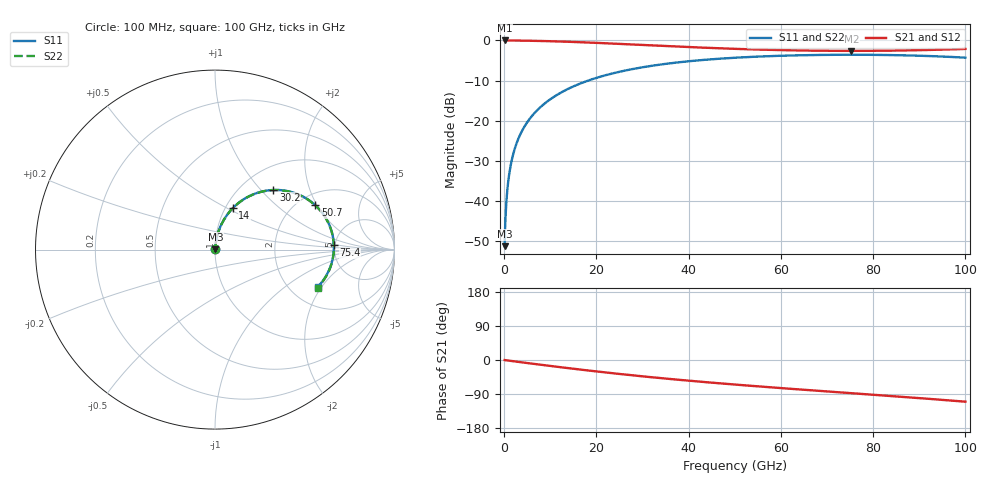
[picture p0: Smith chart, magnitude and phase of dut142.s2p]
! Touchstone file exported from HFSS 2026.1.0
!  File:  C:/ffzhzh/LocalFiles/Ansys_Project_Files/temp_train_RDL_142_1783499763_55944.aedt
!  Generated:  04:37:16 PM Jul  8, 2026
!  Design:  RDL
!  Project:  temp_train_RDL_142_1783499763_55944
! Variables:
!  h_bsmrdl = 2um
!  h_ox = 20um
!  h_rdl = 5um
!  h_sub = 80um
!  h_tmrdl = 4.89um
!  h_tsv = 80um
!  h_via = 3um
!  l_bsmrdl = 300um
!  l_sub = 775.18um
!  l_tmrdl = 375.18um
!  m_sub = 200um
!  pitch = 54.17um
!  r_tsv = 6um
!  s_tmrdl = 10um
!  w_bsmrdl = 18um
!  w_sub = 500um
!  w_tmrdl = 15.76um
!  x_tsv_center1 = 383.06um
!  x_tsv_center2 = 701.06um
!  x_tsv_center3 = 1092um
!  x_tsv_center4 = 1410um
!  x_tsv_center5 = 1800.94um
!  x_tsv_center6 = 2118.94um
# GHz S MA R 50.000000
! Terminal data exported
! Port[1] = TM_RDL1_1_T1
! Port[2] = TM_RDL1_1_T2
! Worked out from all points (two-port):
!   1000 points, 100 MHz to 100 GHz, reference 50 ohm
!   highest |S21| = -0.02 dB at 100 MHz (marker M1); lowest = -2.6 dB at 75.3 GHz (marker M2)
!   |S21| within 3 dB of the highest: start of sweep to end of sweep
!   lowest |S11| = -51.2 dB at 100 MHz (marker M3), VSWR 1.01, Z = 50.2 + j0.204 ohm
!   |S11| at or under -10 dB: start of sweep to 18.23 GHz
!   |S22| runs from -51.2 to -3.6 dB; largest |S21 - S12| = 1.3e-14
!   S11 on the Smith chart (normalised r, x): 100 MHz: 1.00, +0.00; 14 GHz: 1.08, +0.53; 30.2 GHz: 1.39, +1.17; 50.7 GHz: 2.45, +1.93; 75.4 GHz: 4.89, +0.41; 100 GHz: 2.80, -1.84
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0.1  0.002742 48.0  0.9982 -0.2  0.9982 -0.2  0.002742 48.0
! Gamma 0 0 0 0
! Port Impedance 50 0 50 0
0.8  0.01588 81.0  0.9977 -1.3  0.9977 -1.3  0.01588 80.9
1  0.01974 82.0  0.9976 -1.6  0.9976 -1.6  0.01974 82.0
1.3  0.02554 82.7  0.9974 -2.1  0.9974 -2.1  0.02554 82.7
1.7  0.03326 83.1  0.997 -2.8  0.997 -2.8  0.03326 83.0
2.2  0.04288 82.9  0.9964 -3.6  0.9964 -3.6  0.04288 82.9
3.4  0.06575 81.7  0.9946 -5.5  0.9946 -5.5  0.06575 81.7
5.2  0.09934 79.3  0.9909 -8.3  0.9909 -8.3  0.09934 79.3
7.5  0.141 76.0  0.9848 -11.9  0.9848 -11.9  0.141 76.0
10.4  0.1917 71.9  0.9753 -16.3  0.9753 -16.3  0.1917 71.8
14  0.2514 66.8  0.9609 -21.6  0.9609 -21.6  0.2514 66.7
16.8  0.295 62.9  0.948 -25.7  0.948 -25.7  0.295 62.8
22.9  0.3803 54.7  0.9165 -34.1  0.9165 -34.1  0.3803 54.6
30.2  0.4648 45.6  0.8765 -43.3  0.8765 -43.3  0.4648 45.5
33.4  0.4959 41.9  0.8594 -47.2  0.8594 -47.2  0.4959 41.8
50.1  0.6085 24.5  0.7846 -64.9  0.7846 -64.9  0.6085 24.3
50.7  0.6112 23.9  0.7825 -65.5  0.7825 -65.5  0.6112 23.7
66.7  0.6568 9.5  0.7455 -80.1  0.7455 -80.1  0.6569 9.2
75.3  0.6627 2.1  0.7403 -87.6  0.7403 -87.6  0.6628 1.8
75.4  0.6627 2.0  0.7403 -87.7  0.7403 -87.7  0.6628 1.7
83.4  0.6572 -4.8  0.745 -94.7  0.745 -94.7  0.6573 -5.2
100  0.6093 -19.8  0.783 -110.0  0.783 -110.0  0.6093 -20.3
